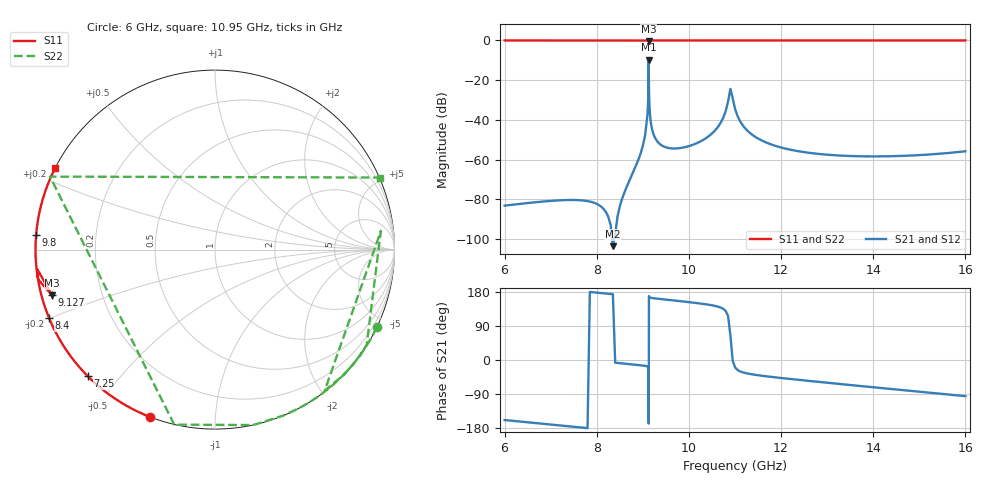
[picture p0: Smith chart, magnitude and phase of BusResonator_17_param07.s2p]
! Sonnet Data File
! From: emgraph Version : 16.54
! From Project: BusResonator_17
! Data is De-embedded
! Data File Written: 08/31/2017 18:33:07
!< HDATE 08/31/2017 16:58:22
!< MDATE 08/31/2017 17:03:00
!< PARAMS
!< BusLengthControl = 3100.0
!< END PARAMS
# GHZ S MA R 50.00000
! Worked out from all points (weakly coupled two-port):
!   798 points, 6 GHz to 16 GHz, reference 50 ohm
!   highest |S21| = -9.72 dB at 9.127 GHz (marker M1); lowest = -103.5 dB at 8.35 GHz (marker M2)
!   lowest |S11| = -0.5 dB at 9.127 GHz (marker M3), VSWR 33.76, Z = 1.51 - j6.89 ohm
!   |S11| at or under -10 dB: nowhere
!   |S22| runs from -0.6 to 0.0 dB; largest |S21 - S12| = 0
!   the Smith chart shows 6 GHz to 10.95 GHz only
!   S11 on the Smith chart (normalised r, x): 6 GHz: 0.00, -0.68; 7.25 GHz: 0.00, -0.41; 8.4 GHz: -0.00, -0.20; 9.127 GHz: 0.03, -0.14; 9.8 GHz: 0.00, +0.04; 10.95 GHz: 0.00, +0.24
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6  1 -111.2  6.983e-05 -158.5  6.983e-05 -158.5  1 -25.7
!< P1 F=6.0 Eeff=(6.44857038 -2.9736e-5) Z0=(51.7893065 1.19468e-4) R=0.05083541 C=0.00240605
!< P2 F=6.0 Eeff=(6.44857038 -2.9736e-5) Z0=(51.7893065 1.19468e-4) R=0.05083541 C=0.00240605
7.25  1 -135.2  9.571e-05 -173.3  9.571e-05 -173.3  1 -31.3
7.7  1 -143.9  9.418e-05 -178.6  9.418e-05 -178.6  1 -33.3
8.35  1 -156.6  6.666e-06 173.6  6.666e-06 173.6  1 -36.4
8.4  1 -157.5  1.317e-05 -7.2  1.317e-05 -7.2  1 -36.7
8.9  1 -167.3  0.0009747 -13.3  0.0009747 -13.3  1 -39.3
9.1  0.9999 -171.5  0.01337 -16.8  0.01337 -16.8  0.9999 -42.0
9.116791  0.9992 -172.4  0.03814 -19.1  0.03814 -19.1  0.9991 -45.5
9.127354  0.9425 -164.3  0.3266 -167.9  0.3266 -167.9  0.9299 6.4
9.151715  0.9999 -171.8  0.01547 164.9  0.01547 164.9  0.9998 -38.4
9.2  1 -173.0  0.005882 163.5  0.005882 163.5  1 -40.0
9.333357  1 -175.7  0.002713 161.6  0.002713 161.6  1 -41.2
9.8  1 175.2  0.001953 155.5  0.001953 155.5  1 -44.3
10.7  0.9999 157.7  0.008942 137.9  0.008942 137.9  1 -62.0
10.75  0.9999 156.7  0.01174 134.6  0.01174 134.6  1 -67.5
10.95  0.9993 152.9  0.03527 -1.9  0.03527 -1.9  1.002 23.6
11  0.9998 151.9  0.01921 -19.2  0.01921 -19.2  1.001 -10.2
11.1  0.9999 149.9  0.009772 -29.5  0.009772 -29.5  1 -28.8
11.5  0.9999 142.2  0.003406 -40.2  0.003406 -40.2  1 -42.6
12.7  1 119.1  0.001444 -56.3  0.001444 -56.3  1 -51.8
14.35  1 87.8  0.00122 -76.1  0.00122 -76.1  1 -60.0
16  1 57.1  0.001627 -95.4  0.001627 -95.4  1 -67.8
